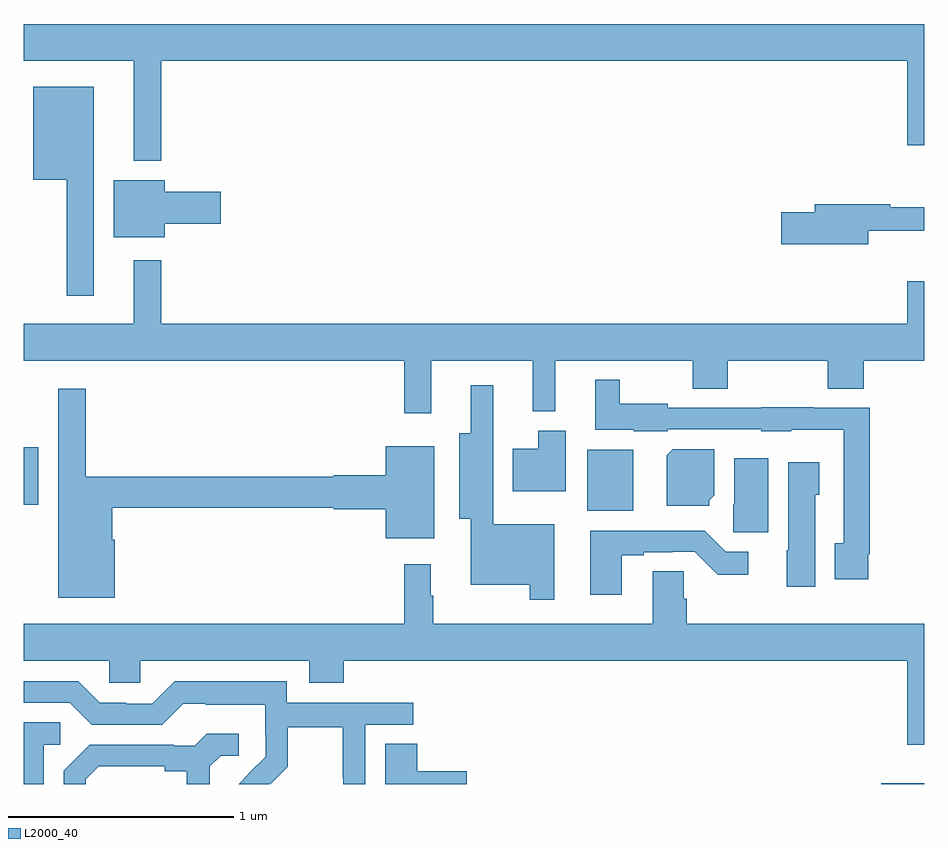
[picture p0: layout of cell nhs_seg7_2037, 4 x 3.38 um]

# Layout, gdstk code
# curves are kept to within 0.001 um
import gdstk
lib = gdstk.Library(unit=1e-6, precision=1e-09)
def R(c, l, rs):  # rectangles x0, y0, x1, y1
    for r in rs: c.add(gdstk.rectangle(r[:2], r[2:], *l))
def P(c, l, *ps):  # polygons
    for p in ps: c.add(gdstk.Polygon(p, *l))
L2000_40 = (2000, 40)

nhs_seg7_2037 = lib.new_cell('nhs_seg7_2037')
R(nhs_seg7_2037, L2000_40, [(248.808,1068,249,1068.004), (247.502,1069.214,247.708,1069.484), (245,1069.241,245.065,1069.495)])
P(nhs_seg7_2037, L2000_40, [(245.611,1071.212),(248.924,1071.212),(248.924,1070.838),(249,1070.838),(249,1071.376),(245,1071.376),(245,1071.212),(245.489,1071.212),(245.489,1070.768),(245.611,1070.768)],
  [(245.311,1071.097),(245.042,1071.097),(245.042,1070.684),(245.19,1070.684),(245.19,1070.169),(245.311,1070.169)],
  [(245.626,1070.488),(245.875,1070.488),(245.875,1070.63),(245.626,1070.63),(245.626,1070.683),(245.399,1070.683),(245.399,1070.429),(245.626,1070.429)],
  [(248.752,1070.458),(249,1070.458),(249,1070.561),(248.848,1070.561),(248.848,1070.576),(248.513,1070.576),(248.513,1070.54),(248.364,1070.54),(248.364,1070.398),(248.752,1070.398)],
  [(246.809,1069.88),(247.262,1069.88),(247.262,1069.655),(247.361,1069.655),(247.361,1069.88),(247.972,1069.88),(247.972,1069.756),(248.127,1069.756),(248.127,1069.88),(248.572,1069.88),(248.572,1069.756),(248.732,1069.756),(248.732,1069.88),(249,1069.88),(249,1070.233),(248.924,1070.233),(248.924,1070.044),(245.611,1070.044),(245.611,1070.326),(245.489,1070.326),(245.489,1070.044),(245,1070.044),(245,1069.88),(246.691,1069.88),(246.691,1069.647),(246.809,1069.647)],
  [(248.752,1069.021),(248.759,1069.021),(248.759,1069.671),(248.509,1069.671),(248.509,1069.673),(248.277,1069.673),(248.277,1069.671),(247.86,1069.671),(247.86,1069.69),(247.648,1069.69),(247.648,1069.795),(247.538,1069.795),(247.538,1069.574),(247.71,1069.574),(247.71,1069.568),(247.86,1069.568),(247.86,1069.575),(248.277,1069.575),(248.277,1069.568),(248.409,1069.568),(248.409,1069.574),(248.643,1069.574),(248.643,1069.07),(248.603,1069.07),(248.603,1068.909),(248.752,1068.909)],
  [(247.356,1069.153),(247.085,1069.153),(247.085,1069.771),(246.986,1069.771),(246.986,1069.558),(246.935,1069.558),(246.935,1069.178),(246.986,1069.178),(246.986,1068.884),(247.248,1068.884),(247.248,1068.819),(247.356,1068.819)],
  [(245.404,1069.086),(245.392,1069.086),(245.392,1069.228),(246.378,1069.228),(246.378,1069.22),(246.608,1069.22),(246.608,1069.091),(246.823,1069.091),(246.823,1069.501),(246.608,1069.501),(246.608,1069.372),(246.378,1069.372),(246.378,1069.364),(245.275,1069.364),(245.275,1069.756),(245.153,1069.756),(245.153,1068.827),(245.404,1068.827)],
  [(247.408,1069.57),(247.286,1069.57),(247.286,1069.489),(247.172,1069.489),(247.172,1069.301),(247.408,1069.301)],
  [(248.046,1069.26),(248.068,1069.282),(248.068,1069.486),(247.882,1069.486),(247.856,1069.46),(247.856,1069.235),(248.046,1069.235)],
  [(248.308,1069.447),(248.156,1069.447),(248.156,1069.242),(248.152,1069.242),(248.152,1069.119),(248.308,1069.119)],
  [(248.515,1069.284),(248.533,1069.284),(248.533,1069.429),(248.396,1069.429),(248.396,1069.038),(248.39,1069.038),(248.39,1068.876),(248.515,1068.876)],
  [(247.657,1069.017),(247.753,1069.017),(247.753,1069.029),(247.88,1069.029),(247.88,1069.032),(247.98,1069.032),(248.083,1068.93),(248.218,1068.93),(248.218,1069.032),(248.118,1069.032),(248.024,1069.126),(247.517,1069.126),(247.517,1068.84),(247.657,1068.84)],
  [(249,1068.712),(247.946,1068.712),(247.946,1068.822),(247.932,1068.822),(247.932,1068.944),(247.793,1068.944),(247.793,1068.712),(246.82,1068.712),(246.82,1068.836),(246.808,1068.836),(246.808,1068.976),(246.691,1068.976),(246.691,1068.712),(245,1068.712),(245,1068.548),(245.379,1068.548),(245.379,1068.45),(245.517,1068.45),(245.517,1068.548),(246.269,1068.548),(246.269,1068.449),(246.422,1068.449),(246.422,1068.548),(248.924,1068.548),(248.924,1068.174),(249,1068.174)],
  [(246.093,1068.003),(246.096,1068),(246.173,1068.077),(246.173,1068.252),(246.418,1068.252),(246.418,1068.028),(246.42,1068.028),(246.42,1068),(246.516,1068),(246.516,1068.264),(246.73,1068.264),(246.73,1068.36),(246.168,1068.36),(246.168,1068.457),(245.671,1068.457),(245.571,1068.357),(245.456,1068.357),(245.456,1068.36),(245.337,1068.36),(245.241,1068.456),(245,1068.456),(245,1068.36),(245.205,1068.36),(245.301,1068.264),(245.616,1068.264),(245.709,1068.357),(245.809,1068.357),(245.809,1068.353),(246.072,1068.353),(246.072,1068.219),(246.074,1068.219),(246.074,1068.122),(245.954,1068),(246.09,1068)],
  [(245.088,1068.174),(245.161,1068.174),(245.161,1068.275),(245,1068.275),(245,1068),(245.088,1068)],
  [(245.275,1068.021),(245.332,1068.078),(245.627,1068.078),(245.627,1068.056),(245.723,1068.056),(245.723,1068),(245.827,1068),(245.827,1068.079),(245.874,1068.126),(245.956,1068.126),(245.956,1068.223),(245.812,1068.223),(245.76,1068.171),(245.666,1068.171),(245.666,1068.174),(245.294,1068.174),(245.178,1068.058),(245.178,1068),(245.275,1068)],
  [(246.967,1068.056),(246.749,1068.056),(246.749,1068.179),(246.605,1068.179),(246.605,1068),(246.967,1068)])

lib.write_gds('nhs_seg7_2037.gds')
